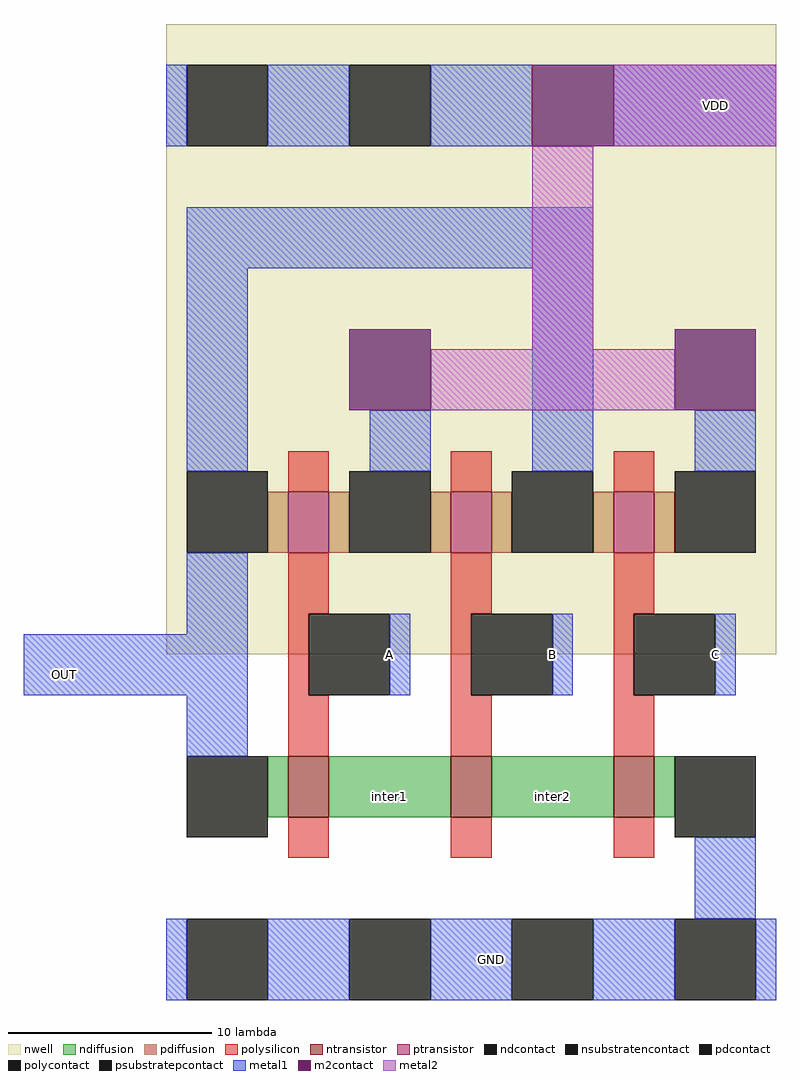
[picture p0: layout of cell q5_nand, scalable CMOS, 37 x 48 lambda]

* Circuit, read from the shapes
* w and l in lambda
.subckt q5_nand A B C GND OUT VDD inter1 inter2
M1 inter1 A OUT GND nfet w=3 l=2
M2 inter2 B inter1 GND nfet w=3 l=2
M3 GND C inter2 GND nfet w=3 l=2
M4 VDD A OUT VDD pfet w=3 l=2
M5 OUT B VDD VDD pfet w=3 l=2
M6 VDD C OUT VDD pfet w=3 l=2
.ends

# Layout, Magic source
magic
tech scmos
<< nwell >>
rect -11 6 19 37
<< polysilicon >>
rect -5 14 -3 16
rect 3 14 5 16
rect 11 14 13 16
rect -5 8 -3 11
rect 3 8 5 11
rect 11 8 13 11
rect -5 4 -4 8
rect 3 4 4 8
rect 11 4 12 8
rect -5 1 -3 4
rect 3 1 5 4
rect 11 1 13 4
rect -5 -4 -3 -2
rect 3 -4 5 -2
rect 11 -4 13 -2
<< ndiffusion >>
rect -6 -2 -5 1
rect -3 -2 3 1
rect 5 -2 11 1
rect 13 -2 14 1
<< pdiffusion >>
rect -6 11 -5 14
rect -3 11 -2 14
rect 2 11 3 14
rect 5 11 6 14
rect 10 11 11 14
rect 13 11 14 14
<< metal1 >>
rect -11 31 -10 35
rect -6 31 -2 35
rect 2 31 7 35
rect 11 31 19 35
rect -10 25 10 28
rect -10 15 -7 25
rect -1 15 2 18
rect 7 15 10 25
rect 15 15 18 18
rect -10 7 -7 11
rect -18 4 -7 7
rect 0 4 1 8
rect 8 4 9 8
rect 16 4 17 8
rect -10 1 -7 4
rect 15 -7 18 -3
rect -11 -11 -10 -7
rect -6 -11 -2 -7
rect 2 -11 6 -7
rect 10 -11 14 -7
rect 18 -11 19 -7
<< metal2 >>
rect 11 31 19 35
rect 7 21 10 31
rect 2 18 14 21
<< ntransistor >>
rect -5 -2 -3 1
rect 3 -2 5 1
rect 11 -2 13 1
<< ptransistor >>
rect -5 11 -3 14
rect 3 11 5 14
rect 11 11 13 14
<< polycontact >>
rect -4 4 0 8
rect 4 4 8 8
rect 12 4 16 8
<< ndcontact >>
rect -10 -3 -6 1
rect 14 -3 18 1
<< pdcontact >>
rect -10 11 -6 15
rect -2 11 2 15
rect 6 11 10 15
rect 14 11 18 15
<< m2contact >>
rect 7 31 11 35
rect -2 18 2 22
rect 14 18 18 22
<< psubstratepcontact >>
rect -10 -11 -6 -7
rect -2 -11 2 -7
rect 6 -11 10 -7
rect 14 -11 18 -7
<< nsubstratencontact >>
rect -10 31 -6 35
rect -2 31 2 35
<< labels >>
rlabel polycontact 0 6 0 6 1 A
rlabel polycontact 8 6 8 6 1 B
rlabel polycontact 16 6 16 6 7 C
rlabel metal1 5 -9 5 -9 1 GND
rlabel metal1 -16 5 -16 5 3 OUT
rlabel metal2 16 33 16 33 6 VDD
rlabel ndiffusion 0 -1 0 -1 1 inter1
rlabel ndiffusion 8 -1 8 -1 1 inter2
<< end >>
